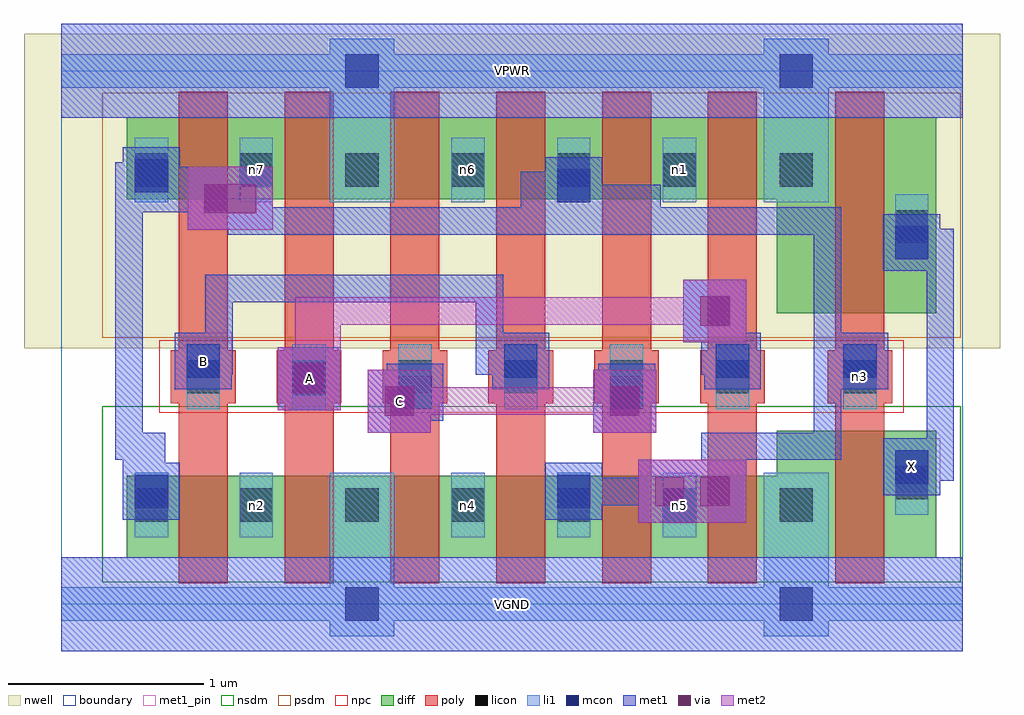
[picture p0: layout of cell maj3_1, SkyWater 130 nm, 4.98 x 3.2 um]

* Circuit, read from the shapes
.subckt maj3_1 A B C VGND VPWR X n1 n2 n3 n4 n5 n6 n7
XM1 n2 B n3 VSUBS sky130_fd_pr__nfet_01v8 w=0.42 l=0.25
XM2 VGND A n2 VSUBS sky130_fd_pr__nfet_01v8 w=0.42 l=0.25
XM3 n4 C VGND VSUBS sky130_fd_pr__nfet_01v8 w=0.42 l=0.25
XM4 n3 B n4 VSUBS sky130_fd_pr__nfet_01v8 w=0.42 l=0.25
XM5 n5 C n3 VSUBS sky130_fd_pr__nfet_01v8 w=0.42 l=0.25
XM6 VGND A n5 VSUBS sky130_fd_pr__nfet_01v8 w=0.42 l=0.25
XM7 X n3 VGND VSUBS sky130_fd_pr__nfet_01v8 w=0.65 l=0.25
XM8 n7 B n3 n8 sky130_fd_pr__pfet_01v8 w=0.42 l=0.25
XM9 VPWR A n7 n8 sky130_fd_pr__pfet_01v8 w=0.42 l=0.25
XM10 n6 C VPWR n8 sky130_fd_pr__pfet_01v8 w=0.42 l=0.25
XM11 n3 B n6 n8 sky130_fd_pr__pfet_01v8 w=0.42 l=0.25
XM12 n1 C n3 n8 sky130_fd_pr__pfet_01v8 w=0.42 l=0.25
XM13 VPWR A n1 n8 sky130_fd_pr__pfet_01v8 w=0.42 l=0.25
XM14 X n3 VPWR n8 sky130_fd_pr__pfet_01v8 w=1 l=0.25
.ends

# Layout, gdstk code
import gdstk
lib = gdstk.Library(unit=1e-6, precision=1e-09)
def R(c, l, rs):  # rectangles x0, y0, x1, y1
    for r in rs: c.add(gdstk.rectangle(r[:2], r[2:], *l))
def A(c, l, x, y, w, h, nx, ny, dx, dy):  # array of equal rectangles
    R(c, l, [(x+i*dx, y+j*dy, x+i*dx+w, y+j*dy+h) for i in range(nx) for j in range(ny)])
nwell = (64, 20)
diff = (65, 20)
poly = (66, 20)
licon = (66, 44)
li1 = (67, 20)
mcon = (67, 44)
met1_pin = (68, 16)
met1 = (68, 20)
via = (68, 44)
met2 = (69, 20)
nsdm = (93, 44)
psdm = (94, 20)
npc = (95, 20)
boundary = (235, 4)

maj3_1 = lib.new_cell('maj3_1')
R(maj3_1, nwell, [(-0.19,1.305,4.79,2.91), (0,1.305,4.6,2.91)])
R(maj3_1, diff, [(0.335,0.235,3.8,0.655), (3.65,0.235,4.465,0.885), (3.65,1.485,4.465,2.485), (0.335,2.065,3.8,2.485)])
A(maj3_1, poly, 0.6, 0.105, 0.25, 2.51, 6, 1, 0.54, 0)
A(maj3_1, poly, 0.56, 1.025, 0.33, 0.27, 6, 1, 0.54, 0)
R(maj3_1, poly, [(3.95,0.105,4.2,2.615), (3.91,1.025,4.24,1.295)])
A(maj3_1, licon, 0.91, 0.42, 0.17, 0.17, 5, 2, 0.54, 1.71)
A(maj3_1, licon, 0.64, 1.075, 0.17, 0.17, 6, 1, 0.54, 0)
R(maj3_1, licon, [(0.375,0.42,0.545,0.59), (3.665,0.42,3.835,0.59), (4.255,0.535,4.425,0.705), (3.99,1.075,4.16,1.245), (4.255,1.84,4.425,2.01), (0.375,2.13,0.545,2.3), (3.665,2.13,3.835,2.3)])
A(maj3_1, li1, 1.99, 0.34, 0.17, 0.33, 3, 2, 0.54, 1.71)
A(maj3_1, li1, 0.64, 0.995, 0.17, 0.33, 6, 1, 0.54, 0)
R(maj3_1, li1, [(1.37,-0.165,1.7,0.67), (3.585,-0.165,3.915,0.67), (0,-0.085,4.6,0.085), (0.375,0.34,0.545,0.67), (0.91,0.34,1.08,0.67), (4.255,0.455,4.425,0.785), (3.99,0.995,4.16,1.325), (4.255,1.76,4.425,2.09), (0.375,2.05,0.545,2.38), (0.91,2.05,1.08,2.38), (1.37,2.05,1.7,2.885), (3.585,2.05,3.915,2.885), (0,2.635,4.6,2.805)])
R(maj3_1, mcon, [(1.45,-0.085,1.62,0.085), (3.665,-0.085,3.835,0.085), (0.375,0.49,0.545,0.66), (2.53,0.49,2.7,0.66), (4.255,0.615,4.425,0.785), (1.72,0.995,1.89,1.165), (2.8,0.995,2.97,1.165), (1.18,1.065,1.35,1.235), (0.64,1.155,0.81,1.325), (2.26,1.155,2.43,1.325), (3.34,1.155,3.51,1.325), (3.99,1.155,4.16,1.325), (4.255,1.76,4.425,1.93), (2.53,2.05,2.7,2.22), (0.375,2.1,0.545,2.27), (1.45,2.635,1.62,2.805), (3.665,2.635,3.835,2.805)])
R(maj3_1, met1_pin, [(0,-0.24,4.6,0.24), (4.195,0.555,4.485,0.845), (1.565,0.875,1.885,1.195), (1.105,0.99,1.425,1.31), (0.58,1.095,0.87,1.385), (0,2.48,4.6,2.96)])
R(maj3_1, met1, [(0,-0.24,4.6,0.24), (2.945,0.415,3.265,0.735), (3.175,0.415,3.495,0.735), (0.315,0.43,0.605,0.72), (2.47,0.43,2.76,0.72), (0.39,0.505,0.53,0.875), (2.545,0.505,2.83,0.645), (2.69,0.505,3.175,0.645), (3.265,0.505,3.405,0.875), (4.195,0.555,4.485,0.845), (4.27,0.63,4.555,0.77), (4.415,0.63,4.555,0.875), (0.315,0.72,0.53,0.735), (0.315,0.72,0.415,0.735), (0.275,0.735,0.53,0.875), (0.275,0.735,0.415,2.255), (3.265,0.735,3.98,0.875), (3.84,0.735,3.98,1.45), (4.415,0.735,4.555,1.795), (1.565,0.875,1.885,1.195), (2.715,0.875,3.035,1.195), (1.66,0.935,1.95,1.225), (2.74,0.935,3.03,1.225), (1.655,0.965,1.795,1.15), (2.805,0.965,2.945,1.15), (1.105,0.99,1.425,1.31), (1.12,1.005,1.41,1.295), (1.655,1.01,1.875,1.15), (2.805,1.01,2.955,1.15), (0.58,1.095,0.87,1.385), (2.2,1.095,2.49,1.385), (3.28,1.095,3.57,1.385), (3.93,1.095,4.22,1.385), (0.655,1.17,0.875,1.31), (0.735,1.17,0.875,1.45), (2.115,1.17,2.255,1.45), (2.115,1.17,2.415,1.31), (3.265,1.17,3.405,1.45), (3.265,1.17,3.495,1.31), (3.84,1.17,3.98,1.45), (3.84,1.17,4.145,1.31), (0.735,1.31,0.875,1.68), (2.115,1.31,2.255,1.68), (3.265,1.31,3.405,1.565), (3.265,1.31,3.495,1.335), (3.84,1.31,3.98,2.025), (3.175,1.335,3.495,1.655), (0.735,1.54,2.255,1.68), (4.415,1.655,4.555,1.915), (4.195,1.7,4.485,1.99), (4.27,1.775,4.555,1.915), (0.85,1.885,0.99,2.14), (0.85,1.885,2.485,2.025), (2.345,1.885,2.485,2.205), (2.345,1.885,2.83,2.025), (2.69,1.885,2.83,2.14), (2.83,1.885,2.92,2.025), (2.83,1.885,2.92,2.14), (2.92,1.885,3.06,2.14), (2.92,1.885,3.98,2.025), (0.645,1.91,0.965,2.23), (0.76,1.91,1.08,2.23), (2.47,1.99,2.76,2.28), (0.275,2,0.875,2.14), (2.69,2,3.06,2.14), (2.345,2.025,2.685,2.065), (0.315,2.04,0.605,2.33), (0.605,2.04,0.645,2.23), (2.345,2.065,2.685,2.205), (0.275,2.115,0.53,2.255), (0.53,2.115,0.645,2.23), (0,2.48,4.6,2.96)])
R(maj3_1, via, [(3.03,0.5,3.18,0.65), (3.26,0.5,3.41,0.65), (1.65,0.96,1.8,1.11), (2.8,0.96,2.95,1.11), (1.19,1.075,1.34,1.225), (3.26,1.42,3.41,1.57), (0.73,1.995,0.88,2.145), (0.845,1.995,0.995,2.145)])
R(maj3_1, met2, [(2.945,0.415,3.265,0.735), (3.175,0.415,3.495,0.735), (3.035,0.505,3.405,0.645), (1.565,0.875,1.885,1.195), (2.715,0.875,3.035,1.195), (1.655,0.965,2.945,1.105), (1.105,0.99,1.425,1.31), (1.195,1.08,1.335,1.565), (1.195,1.31,1.425,1.425), (3.175,1.335,3.495,1.655), (1.195,1.425,3.405,1.565), (0.645,1.91,0.965,2.23), (0.76,1.91,1.08,2.23), (0.735,2,0.99,2.14)])
R(maj3_1, nsdm, [(0.21,0.11,4.59,1.01)])
R(maj3_1, psdm, [(0.21,1.36,4.59,2.61)])
R(maj3_1, npc, [(0.5,0.975,4.3,1.345)])
R(maj3_1, boundary, [(0,0,4.6,2.72)])
maj3_1.add(gdstk.Label('n3', (4.075,1.16), layer=67, texttype=5))
maj3_1.add(gdstk.Label('n2', (0.995,0.505), layer=67, texttype=5))
maj3_1.add(gdstk.Label('n4', (2.075,0.505), layer=67, texttype=5))
maj3_1.add(gdstk.Label('n5', (3.155,0.505), layer=67, texttype=5))
maj3_1.add(gdstk.Label('n7', (0.995,2.215), layer=67, texttype=5))
maj3_1.add(gdstk.Label('n6', (2.075,2.215), layer=67, texttype=5))
maj3_1.add(gdstk.Label('n1', (3.155,2.215), layer=67, texttype=5))
maj3_1.add(gdstk.Label('A', (1.265,1.15), layer=68, texttype=5))
maj3_1.add(gdstk.Label('B', (0.725,1.24), layer=68, texttype=5))
maj3_1.add(gdstk.Label('C', (1.725,1.035), layer=68, texttype=5))
maj3_1.add(gdstk.Label('X', (4.34,0.7), layer=68, texttype=5))
maj3_1.add(gdstk.Label('VPWR', (2.3,2.72), layer=68, texttype=5))
maj3_1.add(gdstk.Label('VGND', (2.3,0), layer=68, texttype=5))
maj3_1.add(gdstk.Label('A', (1.265,1.15), layer=68, texttype=16))
maj3_1.add(gdstk.Label('B', (0.725,1.24), layer=68, texttype=16))
maj3_1.add(gdstk.Label('C', (1.725,1.035), layer=68, texttype=16))
maj3_1.add(gdstk.Label('X', (4.34,0.7), layer=68, texttype=16))
maj3_1.add(gdstk.Label('VPWR', (2.3,2.72), layer=68, texttype=16))
maj3_1.add(gdstk.Label('VGND', (2.3,0), layer=68, texttype=16))

lib.write_gds('maj3_1.gds')
